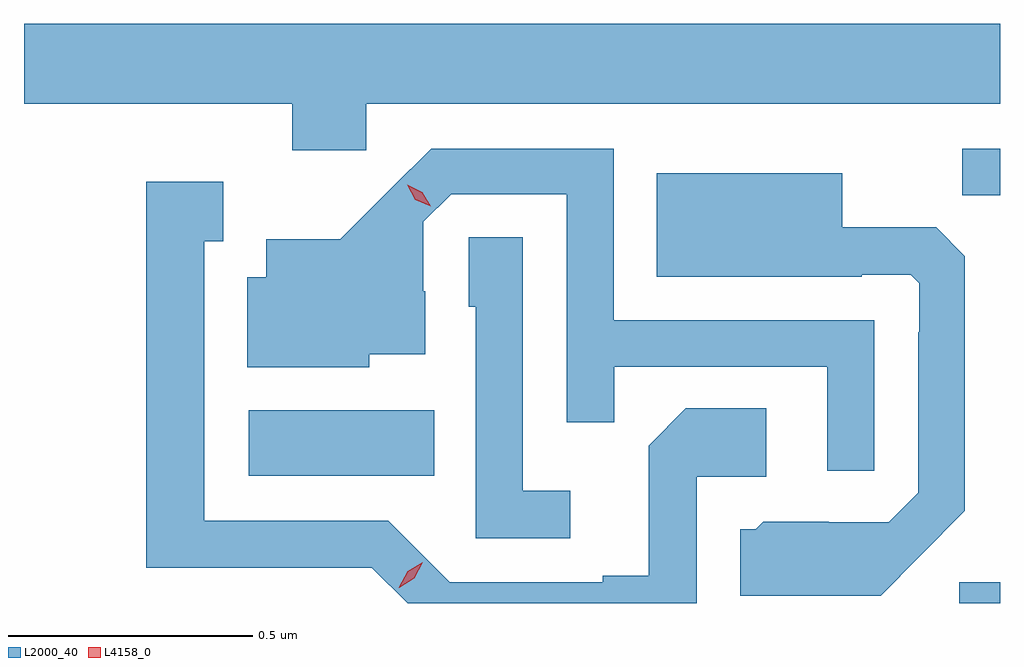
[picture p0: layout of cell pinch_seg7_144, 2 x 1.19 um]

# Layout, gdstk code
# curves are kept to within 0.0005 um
import gdstk
lib = gdstk.Library(unit=1e-6, precision=1e-09)
def R(c, l, rs):  # rectangles x0, y0, x1, y1
    for r in rs: c.add(gdstk.rectangle(r[:2], r[2:], *l))
def P(c, l, *ps):  # polygons
    for p in ps: c.add(gdstk.Polygon(p, *l))
L2000_40 = (2000, 40)
L4158_0 = (4158, 0)

pinch_seg7_144 = lib.new_cell('pinch_seg7_144')
R(pinch_seg7_144, L2000_40, [(1070.343,1006.253,1070.427,1006.296), (1068.888,1006.514,1069.268,1006.648), (1070.35,1007.089,1070.427,1007.184)])
P(pinch_seg7_144, L2000_40, [(1069.128,1007.276),(1070.427,1007.276),(1070.427,1007.44),(1068.427,1007.44),(1068.427,1007.276),(1068.977,1007.276),(1068.977,1007.181),(1069.128,1007.181)],
  [(1070.169,1006.833),(1069.635,1006.833),(1069.635,1007.184),(1069.262,1007.184),(1069.075,1006.999),(1068.923,1006.999),(1068.923,1006.921),(1068.884,1006.921),(1068.884,1006.736),(1069.134,1006.736),(1069.134,1006.763),(1069.249,1006.763),(1069.249,1006.892),(1069.245,1006.892),(1069.245,1007.034),(1069.302,1007.091),(1069.539,1007.091),(1069.539,1006.624),(1069.637,1006.624),(1069.637,1006.737),(1070.073,1006.737),(1070.073,1006.524),(1070.169,1006.524)],
  [(1070.263,1006.349),(1070.355,1006.442),(1070.355,1006.964),(1070.296,1007.023),(1070.104,1007.023),(1070.104,1007.134),(1069.724,1007.134),(1069.724,1006.922),(1070.144,1006.922),(1070.144,1006.926),(1070.244,1006.926),(1070.262,1006.908),(1070.262,1006.808),(1070.259,1006.808),(1070.259,1006.479),(1070.199,1006.419),(1070.076,1006.419),(1070.076,1006.42),(1069.942,1006.42),(1069.926,1006.404),(1069.895,1006.404),(1069.895,1006.268),(1070.183,1006.268)],
  [(1069.806,1006.512),(1069.948,1006.512),(1069.948,1006.652),(1069.783,1006.652),(1069.707,1006.576),(1069.707,1006.309),(1069.613,1006.309),(1069.613,1006.296),(1069.299,1006.296),(1069.173,1006.422),(1068.796,1006.422),(1068.796,1006.995),(1068.835,1006.995),(1068.835,1007.116),(1068.678,1007.116),(1068.678,1006.325),(1068.918,1006.325),(1068.918,1006.326),(1069.14,1006.326),(1069.213,1006.253),(1069.806,1006.253)],
  [(1069.546,1006.483),(1069.449,1006.483),(1069.449,1007.003),(1069.338,1007.003),(1069.338,1006.86),(1069.353,1006.86),(1069.353,1006.386),(1069.546,1006.386)])
P(pinch_seg7_144, L4158_0, [(1069.26,1007.066),(1069.229,1007.08),(1069.212,1007.11),(1069.212,1007.11),(1069.212,1007.11),(1069.243,1007.095),(1069.26,1007.066),(1069.26,1007.066)],
  [(1069.195,1006.285),(1069.195,1006.285),(1069.213,1006.318),(1069.244,1006.337),(1069.244,1006.337),(1069.244,1006.337),(1069.227,1006.304),(1069.196,1006.285)])

lib.write_gds('pinch_seg7_144.gds')
